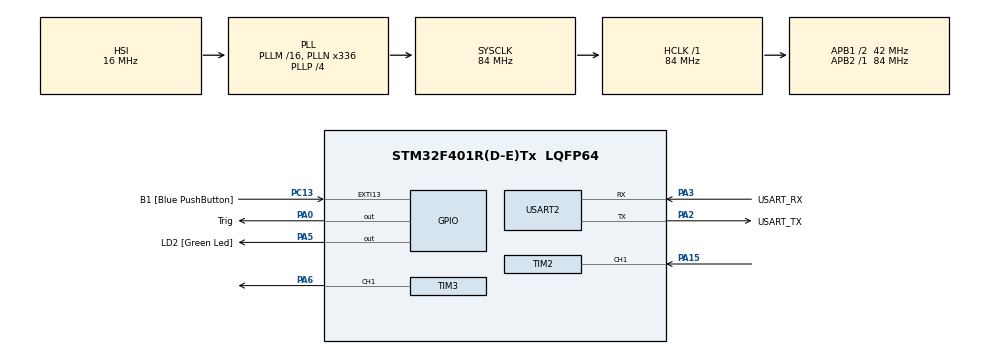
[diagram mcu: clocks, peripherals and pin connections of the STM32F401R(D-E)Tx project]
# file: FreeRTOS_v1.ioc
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FREERTOS.Tasks01=defaultTask,-3,128,StartDefaultTask,Default,NULL,Dynamic,NULL,NULL
FREERTOS.configUSE_IDLE_HOOK=1
FREERTOS.configUSE_NEWLIB_REENTRANT=1
Mcu.Family=STM32F4
Mcu.Name=STM32F401R(D-E)Tx
Mcu.Package=LQFP64
NVIC.EXTI15_10_IRQn=true\:5\:0\:false\:false\:true\:true\:true\:true\:true
NVIC.PriorityGroup=NVIC_PRIORITYGROUP_4
NVIC.TIM1_UP_TIM10_IRQn=true\:15\:0\:false\:false\:true\:false\:false\:true\:true
NVIC.TIM2_IRQn=true\:5\:0\:false\:false\:true\:true\:true\:true\:true
NVIC.TimeBase=TIM1_UP_TIM10_IRQn
NVIC.TimeBaseIP=TIM1
PA0-WKUP.GPIO_Label=Trig
PA0-WKUP.Signal=GPIO_Output
PA13.GPIO_Label=TMS
PA13.Mode=Serial_Wire
PA13.Signal=SYS_JTMS-SWDIO
PA14.GPIO_Label=TCK
PA14.Mode=Serial_Wire
PA14.Signal=SYS_JTCK-SWCLK
PA15.Signal=S_TIM2_CH1_ETR
PA2.GPIO_Label=USART_TX
PA2.GPIO_Mode=GPIO_MODE_AF_PP
PA2.GPIO_PuPd=GPIO_NOPULL
PA2.GPIO_Speed=GPIO_SPEED_FREQ_LOW
PA2.Mode=Asynchronous
PA2.Signal=USART2_TX
PA3.GPIO_Label=USART_RX
PA3.GPIO_Mode=GPIO_MODE_AF_PP
PA3.GPIO_PuPd=GPIO_NOPULL
PA3.GPIO_Speed=GPIO_SPEED_FREQ_LOW
PA3.Mode=Asynchronous
PA3.Signal=USART2_RX
PA5.GPIO_Label=LD2 [Green Led]
PA5.GPIO_Mode=GPIO_MODE_OUTPUT_PP
PA5.GPIO_PuPd=GPIO_NOPULL
PA5.GPIO_Speed=GPIO_SPEED_FREQ_LOW
PA5.Signal=GPIO_Output
PA6.Signal=S_TIM3_CH1
PB3.GPIO_Label=SWO
PB3.Signal=SYS_JTDO-SWO
PC13-ANTI_TAMP.GPIO_Label=B1 [Blue PushButton]
PC13-ANTI_TAMP.GPIO_ModeDefaultEXTI=GPIO_MODE_IT_FALLING
PC13-ANTI_TAMP.GPIO_PuPd=GPIO_NOPULL
PC13-ANTI_TAMP.Signal=GPXTI13
PC14-OSC32_IN.Mode=LSE-External-Oscillator
PC14-OSC32_IN.Signal=RCC_OSC32_IN
PC15-OSC32_OUT.Mode=LSE-External-Oscillator
PC15-OSC32_OUT.Signal=RCC_OSC32_OUT
PH0\ -\ OSC_IN.Mode=HSE-External-Clock-Source
PH0\ -\ OSC_IN.Signal=RCC_OSC_IN
PH1\ -\ OSC_OUT.Mode=HSE-External-Clock-Source
PH1\ -\ OSC_OUT.Signal=RCC_OSC_OUT
ProjectManager.HeapSize=0x200
ProjectManager.StackSize=0x400
ProjectManager.TargetToolchain=STM32CubeIDE
RCC.48MHZClocksFreq_Value=48000000
RCC.AHBFreq_Value=84000000
RCC.APB1CLKDivider=RCC_HCLK_DIV2
RCC.APB1Freq_Value=42000000
RCC.APB1TimFreq_Value=84000000
RCC.APB2Freq_Value=84000000
RCC.APB2TimFreq_Value=84000000
RCC.CortexFreq_Value=84000000
RCC.HCLKFreq_Value=84000000
RCC.HSE_VALUE=8000000
RCC.HSI_VALUE=16000000
RCC.PLLN=336
RCC.PLLP=RCC_PLLP_DIV4
RCC.PLLQ=7
RCC.SYSCLKFreq_VALUE=84000000
RCC.SYSCLKSource=RCC_SYSCLKSOURCE_PLLCLK
RCC.VCOOutputFreq_Value=336000000
SH.S_TIM2_CH1_ETR.0=TIM2_CH1,Input_Capture1_from_TI1
SH.S_TIM3_CH1.0=TIM3_CH1,PWM Generation1 CH1
TIM2.Channel-Input_Capture1_from_TI1=TIM_CHANNEL_1
TIM2.Prescaler=84-1
TIM3.Channel-PWM\ Generation1\ CH1=TIM_CHANNEL_1
TIM3.CounterMode=TIM_COUNTERMODE_UP
TIM3.Period=100
TIM3.Prescaler=8400-1
TIM3.Pulse-PWM\ Generation1\ CH1=50
USART2.VirtualMode=VM_ASYNC
VP_FREERTOS_VS_CMSIS_V1.Mode=CMSIS_V1
VP_SYS_VS_tim1.Mode=TIM1
VP_TIM2_VS_ClockSourceINT.Mode=Internal
board=NUCLEO-F401RE

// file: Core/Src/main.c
/* USER CODE BEGIN Header */
/**
  ******************************************************************************
  * @file           : main.c
  * @brief          : Main program body
  ******************************************************************************
  * @attention
  *
  * Copyright (c) 2022 STMicroelectronics.
  * All rights reserved.
  *
  * This software is licensed under terms that can be found in the LICENSE file
  * in the root directory of this software component.
  * If no LICENSE file comes with this software, it is provided AS-IS.
  *
  ******************************************************************************
  */
/* USER CODE END Header */
#include "main.h"
#include "cmsis_os.h"

/* USER CODE BEGIN Includes */
//#define ARM_MATH_CM4

#include <arm_math.h>
/* USER CODE END Includes */

/* USER CODE BEGIN PD */
#define TAM_FILTRO (unsigned int) 5
#define BLOCK_SIZE (unsigned int) 1
/* USER CODE END PD */

 TIM_HandleTypeDef htim2;
TIM_HandleTypeDef htim3;

UART_HandleTypeDef huart2;

osThreadId defaultTaskHandle;
/* USER CODE BEGIN PV */
SemaphoreHandle_t semaforo1;
SemaphoreHandle_t semaforo2;
int distancia;
int flancoAscendenteCapturado=0;
int valorInicial=0;
int valorFinal=0;
int pulso=0;
int velocidadSonido=343;
uint32_t uartBufferLen=0;
char uart_buf [50];
/* USER CODE END PV */

void SystemClock_Config(void);
static void MX_GPIO_Init(void);
static void MX_USART2_UART_Init(void);
static void MX_TIM2_Init(void);
static void MX_TIM3_Init(void);
void StartDefaultTask(void const * argument);

/* USER CODE BEGIN PFP */
void TrigSensor(void const * argument);
void FiltroDistancia(void const * argument);
void generacionPWM(void const * argument);
/* USER CODE END PFP */

int main(void)
{

  /* MCU Configuration--------------------------------------------------------*/

  /* Reset of all peripherals, Initializes the Flash interface and the Systick. */
  HAL_Init();

  /* Configure the system clock */
  SystemClock_Config();

  /* Initialize all configured peripherals */
  MX_GPIO_Init();
  MX_USART2_UART_Init();
  MX_TIM2_Init();
  MX_TIM3_Init();
  /* USER CODE BEGIN 2 */
  HAL_TIM_IC_Start_IT(&htim2, TIM_CHANNEL_1);	//Timer que captura el ECHO del sensor
  HAL_TIM_PWM_Start(&htim3, TIM_CHANNEL_1);		//Timer que genera la señal sonora
  /* USER CODE END 2 */

  /* USER CODE BEGIN RTOS_SEMAPHORES */
  /* add semaphores, ... */

  semaforo1=xSemaphoreCreateBinary();
  semaforo2=xSemaphoreCreateBinary();
  xSemaphoreGive(semaforo1);
  xSemaphoreGive(semaforo2);

  /* USER CODE END RTOS_SEMAPHORES */

  /* Create the thread(s) */
  /* definition and creation of defaultTask */
  osThreadDef(defaultTask, StartDefaultTask, osPriorityIdle, 0, 128);
  defaultTaskHandle = osThreadCreate(osThread(defaultTask), NULL);

  /* USER CODE BEGIN RTOS_THREADS */
  /* add threads, ... */
  xTaskCreate((void*) TrigSensor, "trigger", configMINIMAL_STACK_SIZE, NULL, tskIDLE_PRIORITY+2, NULL);
  xTaskCreate((void*) FiltroDistancia, "filtro", configMINIMAL_STACK_SIZE, NULL, tskIDLE_PRIORITY+3, NULL);
  xTaskCreate((void*) generacionPWM, "PWM", configMINIMAL_STACK_SIZE, NULL, tskIDLE_PRIORITY+1, NULL);
  /* USER CODE END RTOS_THREADS */

  /* Start scheduler */
  osKernelStart();

  /* We should never get here as control is now taken by the scheduler */
  /* Infinite loop */
  while (1)
  {

  }
}

void SystemClock_Config(void)
{
  RCC_OscInitTypeDef RCC_OscInitStruct = {0};
  RCC_ClkInitTypeDef RCC_ClkInitStruct = {0};

  /** Configure the main internal regulator output voltage
  */
  __HAL_RCC_PWR_CLK_ENABLE();
  __HAL_PWR_VOLTAGESCALING_CONFIG(PWR_REGULATOR_VOLTAGE_SCALE2);

  /** Initializes the RCC Oscillators according to the specified parameters
  * in the RCC_OscInitTypeDef structure.
  */
  RCC_OscInitStruct.OscillatorType = RCC_OSCILLATORTYPE_HSI;
  RCC_OscInitStruct.HSIState = RCC_HSI_ON;
  RCC_OscInitStruct.HSICalibrationValue = RCC_HSICALIBRATION_DEFAULT;
  RCC_OscInitStruct.PLL.PLLState = RCC_PLL_ON;
  RCC_OscInitStruct.PLL.PLLSource = RCC_PLLSOURCE_HSI;
  RCC_OscInitStruct.PLL.PLLM = 16;
  RCC_OscInitStruct.PLL.PLLN = 336;
  RCC_OscInitStruct.PLL.PLLP = RCC_PLLP_DIV4;
  RCC_OscInitStruct.PLL.PLLQ = 7;
  if (HAL_RCC_OscConfig(&RCC_OscInitStruct) != HAL_OK)
  {
    Error_Handler();
  }

  /** Initializes the CPU, AHB and APB buses clocks
  */
  RCC_ClkInitStruct.ClockType = RCC_CLOCKTYPE_HCLK|RCC_CLOCKTYPE_SYSCLK
                              |RCC_CLOCKTYPE_PCLK1|RCC_CLOCKTYPE_PCLK2;
  RCC_ClkInitStruct.SYSCLKSource = RCC_SYSCLKSOURCE_PLLCLK;
  RCC_ClkInitStruct.AHBCLKDivider = RCC_SYSCLK_DIV1;
  RCC_ClkInitStruct.APB1CLKDivider = RCC_HCLK_DIV2;
  RCC_ClkInitStruct.APB2CLKDivider = RCC_HCLK_DIV1;

  if (HAL_RCC_ClockConfig(&RCC_ClkInitStruct, FLASH_LATENCY_2) != HAL_OK)
  {
    Error_Handler();
  }
}

static void MX_TIM2_Init(void)
{

  TIM_ClockConfigTypeDef sClockSourceConfig = {0};
  TIM_MasterConfigTypeDef sMasterConfig = {0};
  TIM_IC_InitTypeDef sConfigIC = {0};

  htim2.Instance = TIM2;
  htim2.Init.Prescaler = 84-1;
  htim2.Init.CounterMode = TIM_COUNTERMODE_UP;
  htim2.Init.Period = 4294967295;
  htim2.Init.ClockDivision = TIM_CLOCKDIVISION_DIV1;
  htim2.Init.AutoReloadPreload = TIM_AUTORELOAD_PRELOAD_DISABLE;
  if (HAL_TIM_Base_Init(&htim2) != HAL_OK)
  {
    Error_Handler();
  }
  sClockSourceConfig.ClockSource = TIM_CLOCKSOURCE_INTERNAL;
  if (HAL_TIM_ConfigClockSource(&htim2, &sClockSourceConfig) != HAL_OK)
  {
    Error_Handler();
  }
  if (HAL_TIM_IC_Init(&htim2) != HAL_OK)
  {
    Error_Handler();
  }
  sMasterConfig.MasterOutputTrigger = TIM_TRGO_RESET;
  sMasterConfig.MasterSlaveMode = TIM_MASTERSLAVEMODE_DISABLE;
  if (HAL_TIMEx_MasterConfigSynchronization(&htim2, &sMasterConfig) != HAL_OK)
  {
    Error_Handler();
  }
  sConfigIC.ICPolarity = TIM_INPUTCHANNELPOLARITY_RISING;
  sConfigIC.ICSelection = TIM_ICSELECTION_DIRECTTI;
  sConfigIC.ICPrescaler = TIM_ICPSC_DIV1;
  sConfigIC.ICFilter = 0;
  if (HAL_TIM_IC_ConfigChannel(&htim2, &sConfigIC, TIM_CHANNEL_1) != HAL_OK)
  {
    Error_Handler();
  }

}

static void MX_TIM3_Init(void)
{

  TIM_MasterConfigTypeDef sMasterConfig = {0};
  TIM_OC_InitTypeDef sConfigOC = {0};

  htim3.Instance = TIM3;
  htim3.Init.Prescaler = 8400-1;
  htim3.Init.CounterMode = TIM_COUNTERMODE_UP;
  htim3.Init.Period = 100;
  htim3.Init.ClockDivision = TIM_CLOCKDIVISION_DIV1;
  htim3.Init.AutoReloadPreload = TIM_AUTORELOAD_PRELOAD_DISABLE;
  if (HAL_TIM_PWM_Init(&htim3) != HAL_OK)
  {
    Error_Handler();
  }
  sMasterConfig.MasterOutputTrigger = TIM_TRGO_RESET;
  sMasterConfig.MasterSlaveMode = TIM_MASTERSLAVEMODE_DISABLE;
  if (HAL_TIMEx_MasterConfigSynchronization(&htim3, &sMasterConfig) != HAL_OK)
  {
    Error_Handler();
  }
  sConfigOC.OCMode = TIM_OCMODE_PWM1;
  sConfigOC.Pulse = 50;
  sConfigOC.OCPolarity = TIM_OCPOLARITY_HIGH;
  sConfigOC.OCFastMode = TIM_OCFAST_DISABLE;
  if (HAL_TIM_PWM_ConfigChannel(&htim3, &sConfigOC, TIM_CHANNEL_1) != HAL_OK)
  {
    Error_Handler();
  }
  HAL_TIM_MspPostInit(&htim3);

}

static void MX_USART2_UART_Init(void)
{

  huart2.Instance = USART2;
  huart2.Init.BaudRate = 115200;
  huart2.Init.WordLength = UART_WORDLENGTH_8B;
  huart2.Init.StopBits = UART_STOPBITS_1;
  huart2.Init.Parity = UART_PARITY_NONE;
  huart2.Init.Mode = UART_MODE_TX_RX;
  huart2.Init.HwFlowCtl = UART_HWCONTROL_NONE;
  huart2.Init.OverSampling = UART_OVERSAMPLING_16;
  if (HAL_UART_Init(&huart2) != HAL_OK)
  {
    Error_Handler();
  }

}

static void MX_GPIO_Init(void)
{
  GPIO_InitTypeDef GPIO_InitStruct = {0};

  /* GPIO Ports Clock Enable */
  __HAL_RCC_GPIOC_CLK_ENABLE();
  __HAL_RCC_GPIOH_CLK_ENABLE();
  __HAL_RCC_GPIOA_CLK_ENABLE();
  __HAL_RCC_GPIOB_CLK_ENABLE();

  /*Configure GPIO pin Output Level */
  HAL_GPIO_WritePin(GPIOA, Trig_Pin|LD2_Pin, GPIO_PIN_RESET);

  /*Configure GPIO pin : B1_Pin */
  GPIO_InitStruct.Pin = B1_Pin;
  GPIO_InitStruct.Mode = GPIO_MODE_IT_FALLING;
  GPIO_InitStruct.Pull = GPIO_NOPULL;
  HAL_GPIO_Init(B1_GPIO_Port, &GPIO_InitStruct);

  /*Configure GPIO pins : Trig_Pin LD2_Pin */
  GPIO_InitStruct.Pin = Trig_Pin|LD2_Pin;
  GPIO_InitStruct.Mode = GPIO_MODE_OUTPUT_PP;
  GPIO_InitStruct.Pull = GPIO_NOPULL;
  GPIO_InitStruct.Speed = GPIO_SPEED_FREQ_LOW;
  HAL_GPIO_Init(GPIOA, &GPIO_InitStruct);

  /* EXTI interrupt init*/
  HAL_NVIC_SetPriority(EXTI15_10_IRQn, 5, 0);
  HAL_NVIC_EnableIRQ(EXTI15_10_IRQn);

}

/* USER CODE BEGIN 4 */
void HAL_GPIO_EXTI_Callback(uint16_t GPIO_Pin){
		HAL_GPIO_TogglePin(LD2_GPIO_Port, LD2_Pin);
}

void HAL_TIM_IC_CaptureCallback(TIM_HandleTypeDef *htim){

	// Calculo el ancho del pulso que triguereó la interrupción
	if(flancoAscendenteCapturado==0){
		valorInicial=HAL_TIM_ReadCapturedValue(htim, TIM_CHANNEL_1);
		flancoAscendenteCapturado=1;
		__HAL_TIM_SET_CAPTUREPOLARITY(htim,TIM_CHANNEL_1,TIM_INPUTCHANNELPOLARITY_FALLING);
	}
	else if(flancoAscendenteCapturado==1){
		valorFinal=HAL_TIM_ReadCapturedValue(htim, TIM_CHANNEL_1);
		flancoAscendenteCapturado=0;
		__HAL_TIM_SET_CAPTUREPOLARITY(htim,TIM_CHANNEL_1,TIM_INPUTCHANNELPOLARITY_RISING);
		if(valorFinal>valorInicial)
			pulso=valorFinal-valorInicial;
		else if (valorFinal <= valorInicial)
			pulso=__HAL_TIM_GET_AUTORELOAD(&htim2)-valorInicial+valorFinal;
		xSemaphoreGiveFromISR(semaforo1,pdTRUE);
	}
}

void TrigSensor(void const * argument)
{
  /* USER CODE BEGIN 5 */
  /* Infinite loop */
  while(1)
  {
	HAL_GPIO_WritePin(Trig_GPIO_Port, Trig_Pin, GPIO_PIN_SET);
	vTaskDelay(1/portTICK_PERIOD_MS);		// Delay de 1 ms
	HAL_GPIO_WritePin(Trig_GPIO_Port, Trig_Pin, GPIO_PIN_RESET);
	vTaskDelay(40/portTICK_PERIOD_MS);		//Delay de 40 ms (output máximo del sensor: 38 ms)
  }
  /* USER CODE END 5 */
}

void FiltroDistancia(void const * argument)
{
  /* USER CODE BEGIN 5 */

	float32_t muestras[TAM_FILTRO]={0};
	arm_fir_instance_f32 filtro_fir;
	static float32_t firCoeffs32[TAM_FILTRO]={1};
	static float32_t firStateF32[BLOCK_SIZE + TAM_FILTRO - 1];
	float32_t a[1]={0};
	float32_t *outputF32=a;
	uint16_t tamano_filtro=TAM_FILTRO;
	uint32_t tam_bloque=BLOCK_SIZE;

	arm_fir_init_f32(&filtro_fir, tamano_filtro,&firCoeffs32[0], &firStateF32[0],tam_bloque);

  /* Infinite loop */
  while(1)
  {
	  xSemaphoreTake(semaforo1,portMAX_DELAY);

	  //Muevo las muestras una posición hacia atras y agrego nueva muestra
	  for(int x=1;x<TAM_FILTRO;x++){
		  muestras[x-1]=muestras[x];
		  muestras[x] =(float) pulso/58; //Segun datasheet
	  }
	  //LLamo a filtro FIR de CMSIS-DSP
	  arm_fir_f32(&filtro_fir, muestras, outputF32, tam_bloque);
	  distancia=(int) *outputF32;

	  //debug con uart
	  uartBufferLen=sprintf(uart_buf,"%u Cm \r\n",distancia);
	  HAL_UART_Transmit(&huart2, (uint8_t *) uart_buf, uartBufferLen,HAL_MAX_DELAY);

	  //Suelto semáforo 2 para que lo agarre generacionPWM()
	  xSemaphoreGive(semaforo2);
	  }
  /* USER CODE END 5 */
}

void generacionPWM(void const * argument){
	int pwm;
	int pwm_ant=0;
	while(1){
		xSemaphoreTake(semaforo2,portMAX_DELAY);

		if(distancia>600)	//si el sensor indica que no recibió el pulso, seteo la distancia máxima que puede medir
			pwm = 600;

		// redondeo los períodos posibles a multiplos de 5
		if(distancia % 10 < 5)
			pwm = distancia - distancia % 10;
		else if(distancia % 10 >=5)
			pwm = distancia + 10 -distancia % 10;

		//uart debug
//		uartBufferLen=sprintf(uart_buf,"%u pwm \r\n",pwm);
//		HAL_UART_Transmit(&huart2, (uint8_t *) uart_buf, uartBufferLen,HAL_MAX_DELAY);

		if(pwm!=pwm_ant){
			TIM3->ARR = pwm;	//seteo período del pulso
			TIM3->CCR1 = pwm/2;	//seteo tiempo que el pulso está en HIGH (la mitad para tener duty cicle=50%)
			TIM3->CNT=0;		//reseteo cuenta para evitar cambiar ARR a un valor más chico que la cuenta y que el timer siga de largo
			pwm_ant=pwm;
		}
	}
}

/* USER CODE END 4 */

void StartDefaultTask(void const * argument)
{
  /* USER CODE BEGIN 5 */
  /* Infinite loop */
  while(1)
  {
	HAL_GPIO_WritePin(Trig_GPIO_Port, Trig_Pin, GPIO_PIN_SET);
	vTaskDelay(1/portTICK_PERIOD_MS);		// Delay de 1 ms
	HAL_GPIO_WritePin(Trig_GPIO_Port, Trig_Pin, GPIO_PIN_RESET);
	vTaskDelay(40/portTICK_PERIOD_MS);		//Delay de 40 ms (output máximo del sensor: 38 ms)
  }
  /* USER CODE END 5 */
}

void HAL_TIM_PeriodElapsedCallback(TIM_HandleTypeDef *htim)
{
  if (htim->Instance == TIM1) {
    HAL_IncTick();
  }
}

void Error_Handler(void)
{
  __disable_irq();
  while (1)
  {
  }
}
